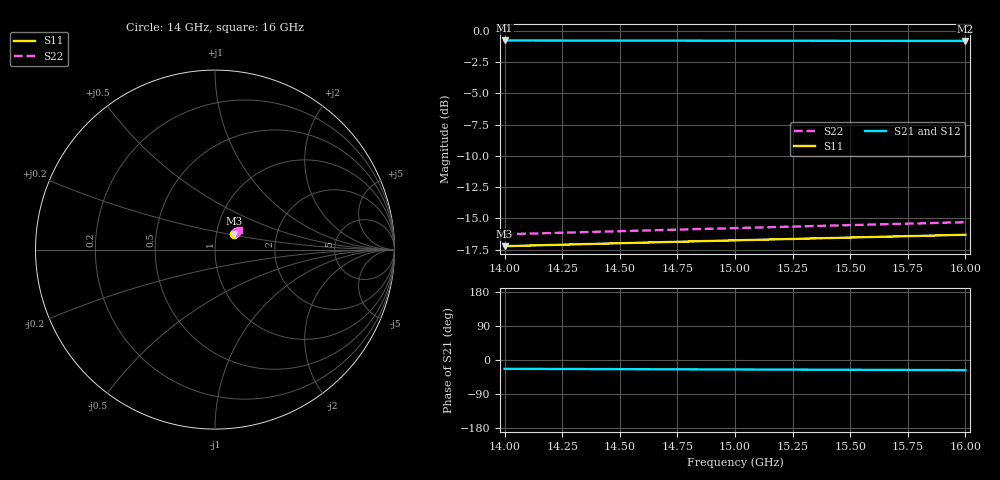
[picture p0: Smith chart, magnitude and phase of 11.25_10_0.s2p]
! Created Tue Dec 15 14:22:07 2020
# hz S ma R 50
! 2 Port Network Data from Sweep1.SP1.SP block
! freq  magS11  angS11  magS21  angS21  magS12  angS12  magS22  angS22
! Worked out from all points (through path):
!   21 points, 14 GHz to 16 GHz, reference 50 ohm
!   highest |S21| = -0.77 dB at 14 GHz (marker M1); lowest = -0.8 dB at 16 GHz (marker M2)
!   group delay of S21, straight-line fit = 4.61 ps
!   lowest |S11| = -17.2 dB at 14 GHz (marker M3), VSWR 1.32, Z = 60.6 + j11 ohm
!   |S11| at or under -10 dB: start of sweep to end of sweep
!   |S22| runs from -16.3 to -15.3 dB; largest |S21 - S12| = 0
1.4e10  0.1375 40.5  0.9154 -23.3  0.9154 -23.3  0.1534 39.8
1.41e10  0.1383 40.5  0.9152 -23.5  0.9152 -23.5  0.1543 39.8
1.42e10  0.139 40.5  0.915 -23.6  0.915 -23.6  0.1552 39.7
1.43e10  0.1398 40.4  0.9148 -23.8  0.9148 -23.8  0.1561 39.7
1.44e10  0.1406 40.4  0.9146 -24.0  0.9146 -24.0  0.157 39.6
1.45e10  0.1413 40.4  0.9144 -24.1  0.9144 -24.1  0.1579 39.5
1.46e10  0.1421 40.4  0.9142 -24.3  0.9142 -24.3  0.1588 39.5
1.47e10  0.1428 40.4  0.914 -24.5  0.914 -24.5  0.1597 39.4
1.48e10  0.1436 40.3  0.9138 -24.6  0.9138 -24.6  0.1606 39.4
1.49e10  0.1444 40.3  0.9136 -24.8  0.9136 -24.8  0.1615 39.3
1.5e10  0.1451 40.3  0.9134 -25.0  0.9134 -25.0  0.1624 39.2
1.51e10  0.1459 40.3  0.9132 -25.1  0.9132 -25.1  0.1633 39.2
1.52e10  0.1466 40.2  0.913 -25.3  0.913 -25.3  0.1643 39.1
1.53e10  0.1474 40.2  0.9128 -25.5  0.9128 -25.5  0.1652 39.0
1.54e10  0.1482 40.2  0.9126 -25.6  0.9126 -25.6  0.1661 39.0
1.55e10  0.1489 40.2  0.9124 -25.8  0.9124 -25.8  0.167 38.9
1.56e10  0.1497 40.1  0.9122 -26.0  0.9122 -26.0  0.1679 38.8
1.57e10  0.1505 40.1  0.912 -26.1  0.912 -26.1  0.1688 38.7
1.58e10  0.1512 40.1  0.9117 -26.3  0.9117 -26.3  0.1697 38.7
1.59e10  0.152 40.0  0.9115 -26.5  0.9115 -26.5  0.1706 38.6
1.6e10  0.1528 40.0  0.9113 -26.6  0.9113 -26.6  0.1715 38.5
